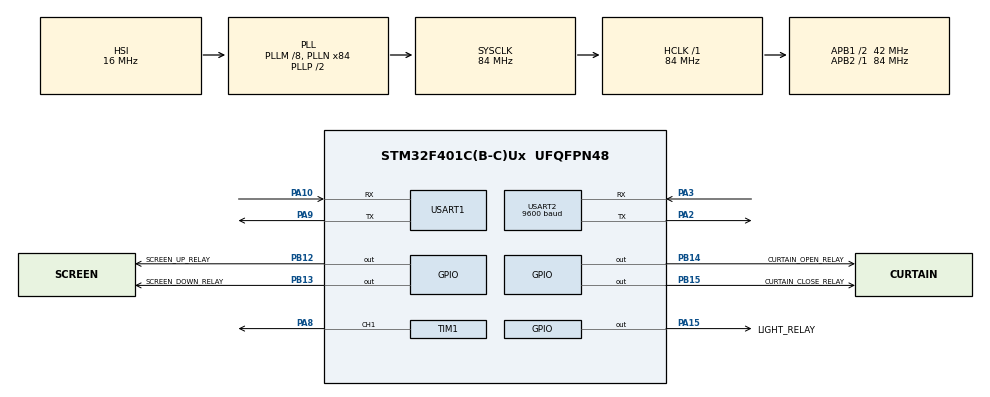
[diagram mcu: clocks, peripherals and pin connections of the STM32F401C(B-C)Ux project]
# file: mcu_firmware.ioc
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Dma.Request0=USART1_RX
Dma.USART1_RX.0.Direction=DMA_PERIPH_TO_MEMORY
Dma.USART1_RX.0.FIFOMode=DMA_FIFOMODE_DISABLE
Dma.USART1_RX.0.Instance=DMA2_Stream2
Dma.USART1_RX.0.MemDataAlignment=DMA_MDATAALIGN_BYTE
Dma.USART1_RX.0.MemInc=DMA_MINC_ENABLE
Dma.USART1_RX.0.Mode=DMA_CIRCULAR
Dma.USART1_RX.0.PeriphDataAlignment=DMA_PDATAALIGN_BYTE
Dma.USART1_RX.0.PeriphInc=DMA_PINC_DISABLE
Dma.USART1_RX.0.Priority=DMA_PRIORITY_HIGH
FREERTOS.Queues01=uartQueue,10,1,1,Dynamic,NULL,NULL;relayQueue,10,4,1,Dynamic,NULL,NULL
FREERTOS.Tasks01=uartRxTask,40,256,StartUartRxTask,Default,NULL,Dynamic,NULL,NULL;commandTask,16,256,StartCommandTask,Default,NULL,Dynamic,NULL,NULL
FREERTOS.configUSE_NEWLIB_REENTRANT=1
Mcu.Family=STM32F4
Mcu.Name=STM32F401C(B-C)Ux
Mcu.Package=UFQFPN48
NVIC.DMA2_Stream2_IRQn=true\:5\:0\:false\:false\:true\:true\:false\:true\:true
NVIC.PriorityGroup=NVIC_PRIORITYGROUP_4
NVIC.TIM5_IRQn=true\:15\:0\:false\:false\:true\:false\:false\:true\:true
NVIC.TimeBase=TIM5_IRQn
NVIC.TimeBaseIP=TIM5
NVIC.USART1_IRQn=true\:5\:0\:false\:false\:true\:true\:true\:true\:true
PA10.Mode=Asynchronous
PA10.Signal=USART1_RX
PA13.Mode=Serial_Wire
PA13.Signal=SYS_JTMS-SWDIO
PA14.Mode=Serial_Wire
PA14.Signal=SYS_JTCK-SWCLK
PA15.GPIO_Label=LIGHT_RELAY
PA15.Signal=GPIO_Output
PA2.Mode=Asynchronous
PA2.Signal=USART2_TX
PA3.Mode=Asynchronous
PA3.Signal=USART2_RX
PA8.Signal=S_TIM1_CH1
PA9.Mode=Asynchronous
PA9.Signal=USART1_TX
PB12.GPIO_Label=SCREEN_UP_RELAY
PB12.Signal=GPIO_Output
PB13.GPIO_Label=SCREEN_DOWN_RELAY
PB13.Signal=GPIO_Output
PB14.GPIO_Label=CURTAIN_OPEN_RELAY
PB14.Signal=GPIO_Output
PB15.GPIO_Label=CURTAIN_CLOSE_RELAY
PB15.Signal=GPIO_Output
ProjectManager.HeapSize=0x200
ProjectManager.StackSize=0x400
ProjectManager.TargetToolchain=STM32CubeIDE
RCC.48MHZClocksFreq_Value=42000000
RCC.AHBFreq_Value=84000000
RCC.APB1CLKDivider=RCC_HCLK_DIV2
RCC.APB1Freq_Value=42000000
RCC.APB1TimFreq_Value=84000000
RCC.APB2Freq_Value=84000000
RCC.APB2TimFreq_Value=84000000
RCC.CortexFreq_Value=84000000
RCC.HCLKFreq_Value=84000000
RCC.HSE_VALUE=25000000
RCC.HSI_VALUE=16000000
RCC.LSE_VALUE=32768
RCC.PLLM=8
RCC.PLLN=84
RCC.SYSCLKFreq_VALUE=84000000
RCC.SYSCLKSource=RCC_SYSCLKSOURCE_PLLCLK
RCC.VCOOutputFreq_Value=168000000
SH.S_TIM1_CH1.0=TIM1_CH1,PWM Generation1 CH1
TIM1.Channel-PWM\ Generation1\ CH1=TIM_CHANNEL_1
TIM1.Period=26
TIM1.Prescaler=83
TIM1.Pulse-PWM\ Generation1\ CH1=13
USART1.VirtualMode=VM_ASYNC
USART2.BaudRate=9600
USART2.VirtualMode=VM_ASYNC
VP_FREERTOS_VS_CMSIS_V2.Mode=CMSIS_V2
VP_SYS_VS_tim5.Mode=TIM5
VP_TIM1_VS_ClockSourceINT.Mode=Internal
board=custom

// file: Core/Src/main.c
/* USER CODE BEGIN Header */
/**
  ******************************************************************************
  * @file           : main.c
  * @brief          : Main program body
  ******************************************************************************
  * @attention
  *
  * Copyright (c) 2026 STMicroelectronics.
  * All rights reserved.
  *
  * This software is licensed under terms that can be found in the LICENSE file
  * in the root directory of this software component.
  * If no LICENSE file comes with this software, it is provided AS-IS.
  *
  ******************************************************************************
  */
/* USER CODE END Header */
#include "main.h"
#include "cmsis_os.h"
#include "dma.h"
#include "tim.h"
#include "usart.h"
#include "gpio.h"

void SystemClock_Config(void);
void MX_FREERTOS_Init(void);

int main(void)
{

  /* MCU Configuration--------------------------------------------------------*/

  /* Reset of all peripherals, Initializes the Flash interface and the Systick. */
  HAL_Init();

  /* Configure the system clock */
  SystemClock_Config();

  /* Initialize all configured peripherals */
  MX_GPIO_Init();
  MX_DMA_Init();
  MX_TIM1_Init();
  MX_USART1_UART_Init();
  MX_USART2_UART_Init();

  /* Init scheduler */
  osKernelInitialize();  /* Call init function for freertos objects (in cmsis_os2.c) */
  MX_FREERTOS_Init();

  /* Start scheduler */
  osKernelStart();

  /* We should never get here as control is now taken by the scheduler */

  /* Infinite loop */
  while (1)
  {

  }
}

void SystemClock_Config(void)
{
  RCC_OscInitTypeDef RCC_OscInitStruct = {0};
  RCC_ClkInitTypeDef RCC_ClkInitStruct = {0};

  /** Configure the main internal regulator output voltage
  */
  __HAL_RCC_PWR_CLK_ENABLE();
  __HAL_PWR_VOLTAGESCALING_CONFIG(PWR_REGULATOR_VOLTAGE_SCALE2);

  /** Initializes the RCC Oscillators according to the specified parameters
  * in the RCC_OscInitTypeDef structure.
  */
  RCC_OscInitStruct.OscillatorType = RCC_OSCILLATORTYPE_HSI;
  RCC_OscInitStruct.HSIState = RCC_HSI_ON;
  RCC_OscInitStruct.HSICalibrationValue = RCC_HSICALIBRATION_DEFAULT;
  RCC_OscInitStruct.PLL.PLLState = RCC_PLL_ON;
  RCC_OscInitStruct.PLL.PLLSource = RCC_PLLSOURCE_HSI;
  RCC_OscInitStruct.PLL.PLLM = 8;
  RCC_OscInitStruct.PLL.PLLN = 84;
  RCC_OscInitStruct.PLL.PLLP = RCC_PLLP_DIV2;
  RCC_OscInitStruct.PLL.PLLQ = 4;
  if (HAL_RCC_OscConfig(&RCC_OscInitStruct) != HAL_OK)
  {
    Error_Handler();
  }

  /** Initializes the CPU, AHB and APB buses clocks
  */
  RCC_ClkInitStruct.ClockType = RCC_CLOCKTYPE_HCLK|RCC_CLOCKTYPE_SYSCLK
                              |RCC_CLOCKTYPE_PCLK1|RCC_CLOCKTYPE_PCLK2;
  RCC_ClkInitStruct.SYSCLKSource = RCC_SYSCLKSOURCE_PLLCLK;
  RCC_ClkInitStruct.AHBCLKDivider = RCC_SYSCLK_DIV1;
  RCC_ClkInitStruct.APB1CLKDivider = RCC_HCLK_DIV2;
  RCC_ClkInitStruct.APB2CLKDivider = RCC_HCLK_DIV1;

  if (HAL_RCC_ClockConfig(&RCC_ClkInitStruct, FLASH_LATENCY_2) != HAL_OK)
  {
    Error_Handler();
  }
}

void HAL_TIM_PeriodElapsedCallback(TIM_HandleTypeDef *htim)
{
  if (htim->Instance == TIM5)
  {
    HAL_IncTick();
  }
}

void Error_Handler(void)
{
  __disable_irq();
  while (1)
  {
  }
}

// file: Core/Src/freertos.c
/* USER CODE BEGIN Header */
/**
  ******************************************************************************
  * File Name          : freertos.c
  * Description        : Code for freertos applications
  ******************************************************************************
  * @attention
  *
  * Copyright (c) 2026 STMicroelectronics.
  * All rights reserved.
  *
  * This software is licensed under terms that can be found in the LICENSE file
  * in the root directory of this software component.
  * If no LICENSE file comes with the software, it is provided AS-IS.
  *
  ******************************************************************************
  */
/* USER CODE END Header */

#include "FreeRTOS.h"
#include "task.h"
#include "main.h"
#include "cmsis_os.h"

/* USER CODE BEGIN Includes */
#include "usart.h"
#include "sps_protocol.h"
#include "command_dispatcher.h"
#include "relay_service.h"
#include "ir_service.h"
#include "projector_service.h"
#include "ota_service.h"
/* USER CODE END Includes */

/* USER CODE BEGIN PD */
#define UART_RX_DMA_BUFFER_SIZE 256U
#define UART_QUEUE_SIZE         256U
#define RELAY_QUEUE_SIZE        10U
#define PROJECTOR_QUEUE_SIZE    5U
#define IR_QUEUE_SIZE           5U
#define OTA_QUEUE_SIZE          5U
#define UART_TX_TIMEOUT_MS      100U
/* USER CODE END PD */

/* USER CODE BEGIN Variables */
static uint8_t uartRxDmaBuffer[UART_RX_DMA_BUFFER_SIZE];
/* USER CODE END Variables */

/* Definitions for uartRxTask */
osThreadId_t uartRxTaskHandle;
const osThreadAttr_t uartRxTask_attributes = {
  .name = "uartRxTask",
  .stack_size = 256 * 4,
  .priority = (osPriority_t) osPriorityHigh,
};

/* Definitions for commandTask */
osThreadId_t commandTaskHandle;
const osThreadAttr_t commandTask_attributes = {
  .name = "commandTask",
  .stack_size = 256 * 4,
  .priority = (osPriority_t) osPriorityAboveNormal,
};

/* Definitions for relayTask */
osThreadId_t relayTaskHandle;
const osThreadAttr_t relayTask_attributes = {
  .name = "relayTask",
  .stack_size = 256 * 4,
  .priority = (osPriority_t) osPriorityNormal,
};

/* Definitions for projectorTask */
osThreadId_t projectorTaskHandle;
const osThreadAttr_t projectorTask_attributes = {
  .name = "projectorTask",
  .stack_size = 256 * 4,
  .priority = (osPriority_t) osPriorityNormal,
};

/* Definitions for irTask */
osThreadId_t irTaskHandle;
const osThreadAttr_t irTask_attributes = {
  .name = "irTask",
  .stack_size = 256 * 4,
  .priority = (osPriority_t) osPriorityNormal,
};

/* Definitions for otaTask */
osThreadId_t otaTaskHandle;
const osThreadAttr_t otaTask_attributes = {
  .name = "otaTask",
  .stack_size = 512 * 4,
  .priority = (osPriority_t) osPriorityNormal,
};

/* Definitions for uartQueue */
osMessageQueueId_t uartQueueHandle;
const osMessageQueueAttr_t uartQueue_attributes = {
  .name = "uartQueue"
};

/* Definitions for relayQueue */
osMessageQueueId_t relayQueueHandle;
const osMessageQueueAttr_t relayQueue_attributes = {
  .name = "relayQueue"
};

/* Definitions for projectorQueue */
osMessageQueueId_t projectorQueueHandle;
const osMessageQueueAttr_t projectorQueue_attributes = {
  .name = "projectorQueue"
};

/* Definitions for irQueue */
osMessageQueueId_t irQueueHandle;
const osMessageQueueAttr_t irQueue_attributes = {
  .name = "irQueue"
};

/* Definitions for otaQueue */
osMessageQueueId_t otaQueueHandle;
const osMessageQueueAttr_t otaQueue_attributes = {
  .name = "otaQueue"
};

/* Definitions for uartTxMutex */
osMutexId_t uartTxMutexHandle;
const osMutexAttr_t uartTxMutex_attributes = {
  .name = "uartTxMutex"
};

/* USER CODE BEGIN FunctionPrototypes */
static void App_SendAck(uint8_t sourceCmd);
static void App_SendNack(uint8_t sourceCmd, uint8_t errorCode);
static void App_SendFrame(uint8_t cmdId, const uint8_t *payload, uint8_t length);
static void App_HandleRelayStatus(const SPS_Frame_t *frame);
/* USER CODE END FunctionPrototypes */

void StartUartRxTask(void *argument);
void StartCommandTask(void *argument);
void StartRelayTask(void *argument);
void StartProjectorTask(void *argument);
void StartIrTask(void *argument);
void StartOtaTask(void *argument);

void MX_FREERTOS_Init(void);

void MX_FREERTOS_Init(void)
{

  /* USER CODE BEGIN RTOS_MUTEX */
  uartTxMutexHandle = osMutexNew(&uartTxMutex_attributes);
  configASSERT(uartTxMutexHandle != NULL);
  /* USER CODE END RTOS_MUTEX */

  /* Create the queue(s) */
  uartQueueHandle = osMessageQueueNew(UART_QUEUE_SIZE, sizeof(uint8_t), &uartQueue_attributes);
  relayQueueHandle = osMessageQueueNew(RELAY_QUEUE_SIZE, sizeof(uint32_t), &relayQueue_attributes);
  projectorQueueHandle = osMessageQueueNew(PROJECTOR_QUEUE_SIZE, sizeof(ProjectorCommand_t), &projectorQueue_attributes);
  irQueueHandle = osMessageQueueNew(IR_QUEUE_SIZE, sizeof(IrCommand_t), &irQueue_attributes);
  otaQueueHandle = osMessageQueueNew(OTA_QUEUE_SIZE, sizeof(OtaCommand_t), &otaQueue_attributes);

  /* USER CODE BEGIN RTOS_QUEUES */
  configASSERT(uartQueueHandle != NULL);
  configASSERT(relayQueueHandle != NULL);
  configASSERT(projectorQueueHandle != NULL);
  configASSERT(irQueueHandle != NULL);
  configASSERT(otaQueueHandle != NULL);
  /* USER CODE END RTOS_QUEUES */

  /* Create the thread(s) */
  uartRxTaskHandle = osThreadNew(StartUartRxTask, NULL, &uartRxTask_attributes);
  commandTaskHandle = osThreadNew(StartCommandTask, NULL, &commandTask_attributes);
  relayTaskHandle = osThreadNew(StartRelayTask, NULL, &relayTask_attributes);
  projectorTaskHandle = osThreadNew(StartProjectorTask, NULL, &projectorTask_attributes);
  irTaskHandle = osThreadNew(StartIrTask, NULL, &irTask_attributes);
  otaTaskHandle = osThreadNew(StartOtaTask, NULL, &otaTask_attributes);

  /* USER CODE BEGIN RTOS_THREADS */
  configASSERT(uartRxTaskHandle != NULL);
  configASSERT(commandTaskHandle != NULL);
  configASSERT(relayTaskHandle != NULL);
  configASSERT(projectorTaskHandle != NULL);
  configASSERT(irTaskHandle != NULL);
  configASSERT(otaTaskHandle != NULL);
  /* USER CODE END RTOS_THREADS */

}

void StartUartRxTask(void *argument)
{
  /* USER CODE BEGIN StartUartRxTask */

  HAL_UARTEx_ReceiveToIdle_DMA(&huart1,
                               uartRxDmaBuffer,
                               UART_RX_DMA_BUFFER_SIZE);
  __HAL_DMA_DISABLE_IT(huart1.hdmarx, DMA_IT_HT);

  for (;;)
  {
    osDelay(1000U);
  }

  /* USER CODE END StartUartRxTask */
}

void StartCommandTask(void *argument)
{
  /* USER CODE BEGIN StartCommandTask */

  uint8_t rxByte;
  SPS_Frame_t frame;

  SPS_Protocol_Init();

  for (;;)
  {
    if (osMessageQueueGet(uartQueueHandle, &rxByte, NULL, osWaitForever) == osOK)
    {
      SPS_ParseResult_t parseResult;

      parseResult = SPS_Protocol_ParseByte(rxByte, &frame);

      if (parseResult == SPS_PARSE_FRAME_READY)
      {
        if (frame.cmd_id == SPS_CMD_PING)
        {
          App_SendAck(SPS_CMD_PING);
        }
        else if (frame.cmd_id == SPS_CMD_RELAY_STATUS)
        {
          App_HandleRelayStatus(&frame);
        }
        else
        {
          DispatchResult_t dispatchResult;

          dispatchResult = Command_DispatchFrame(&frame);

          if (dispatchResult == DISPATCH_RESULT_INVALID_PARAM)
          {
            App_SendNack(frame.cmd_id, SPS_ERR_INVALID_PARAM);
          }
          else if (dispatchResult == DISPATCH_RESULT_QUEUE_FULL)
          {
            App_SendNack(frame.cmd_id, SPS_ERR_QUEUE_FULL);
          }
          else if (dispatchResult == DISPATCH_RESULT_UNKNOWN_CMD)
          {
            App_SendNack(frame.cmd_id, SPS_ERR_UNKNOWN_CMD);
          }
          else if (dispatchResult == DISPATCH_RESULT_PROJECTOR_ERROR)
          {
            App_SendNack(frame.cmd_id, SPS_ERR_TIMEOUT);
          }
          else if (dispatchResult == DISPATCH_RESULT_IR_ERROR)
          {
            App_SendNack(frame.cmd_id, SPS_ERR_TIMEOUT);
          }
          else if (dispatchResult == DISPATCH_RESULT_OTA_ERROR)
          {
            App_SendNack(frame.cmd_id, SPS_ERR_OTA);
          }
          else
          {
        	  /*
        	   * Các command có task riêng sẽ không ACK ở commandTask:
        	   * - Relay: relayTask ACK sau khi GPIO thực thi xong.
        	   * - Projector: projectorTask ACK sau khi USART2 xử lý xong.
        	   * - IR: irTask ACK sau khi phát IR xong.
        	   * - OTA: otaTask ACK sau khi xử lý OTA xong.
        	   */
            /*
             * Relay command không ACK ở commandTask.
             * relayTask sẽ ACK sau khi GPIO thực thi xong.
             */
          }
        }
      }
      else if (parseResult == SPS_PARSE_ERROR)
      {
        App_SendNack(0x00U, SPS_ERR_CRC);
      }
      else
      {
        /* Frame chưa đủ byte. */
      }
    }
  }

  /* USER CODE END StartCommandTask */
}

void StartRelayTask(void *argument)
{
  /* USER CODE BEGIN StartRelayTask */

  uint32_t relayCmd;
  RelayResult_t result;
  uint8_t sourceCmd;

  Relay_Service_Init();

  for (;;)
  {
    if (osMessageQueueGet(relayQueueHandle, &relayCmd, NULL, 100U) == osOK)
    {
      sourceCmd = RELAY_CMD_GET_SOURCE(relayCmd);
      result = Relay_Service_ExecuteCommand(relayCmd);

      if (result == RELAY_RESULT_OK)
      {
        App_SendAck(sourceCmd);
      }
      else
      {
        App_SendNack(sourceCmd, SPS_ERR_INVALID_PARAM);
      }
    }

    Relay_Service_Periodic();
  }

  /* USER CODE END StartRelayTask */
}
void StartProjectorTask(void *argument)
{
  /* USER CODE BEGIN StartProjectorTask */

  ProjectorCommand_t projectorCmd;
  ProjectorResult_t result;

  (void)argument;

  Projector_Service_Init();

  for (;;)
  {
    if (osMessageQueueGet(projectorQueueHandle, &projectorCmd, NULL, osWaitForever) == osOK)
    {
      result = Projector_Service_ExecuteCommand(&projectorCmd);

      if (result == PROJECTOR_RESULT_OK)
      {
        App_SendAck(projectorCmd.sourceCmd);
      }
      else if (result == PROJECTOR_RESULT_INVALID_PARAM)
      {
        App_SendNack(projectorCmd.sourceCmd, SPS_ERR_INVALID_PARAM);
      }
      else
      {
        App_SendNack(projectorCmd.sourceCmd, SPS_ERR_TIMEOUT);
      }
    }
  }

  /* USER CODE END StartProjectorTask */
}

void StartIrTask(void *argument)
{
  /* USER CODE BEGIN StartIrTask */

  IrCommand_t irCmd;
  IrResult_t result;

  (void)argument;

  IR_Service_Init();

  for (;;)
  {
    if (osMessageQueueGet(irQueueHandle, &irCmd, NULL, osWaitForever) == osOK)
    {
      result = IR_Service_ExecuteCommand(&irCmd);

      if (result == IR_RESULT_OK)
      {
        App_SendAck(irCmd.sourceCmd);
      }
      else
      {
        App_SendNack(irCmd.sourceCmd, SPS_ERR_INVALID_PARAM);
      }
    }
  }

  /* USER CODE END StartIrTask */
}

void StartOtaTask(void *argument)
{
  /* USER CODE BEGIN StartOtaTask */

  OtaCommand_t otaCmd;
  OtaResult_t result;

  (void)argument;

  OTA_Service_Init();

  for (;;)
  {
    if (osMessageQueueGet(otaQueueHandle, &otaCmd, NULL, osWaitForever) == osOK)
    {
      result = OTA_Service_ExecuteCommand(&otaCmd);

      if (result == OTA_RESULT_OK)
      {
        App_SendAck(otaCmd.sourceCmd);
      }
      else if (result == OTA_RESULT_INVALID_PARAM)
      {
        App_SendNack(otaCmd.sourceCmd, SPS_ERR_INVALID_PARAM);
      }
      else
      {
        App_SendNack(otaCmd.sourceCmd, SPS_ERR_OTA);
      }
    }
  }

  /* USER CODE END StartOtaTask */
}

/* USER CODE BEGIN Application */

void HAL_UARTEx_RxEventCallback(UART_HandleTypeDef *huart, uint16_t Size)
{
  if (huart->Instance == USART1)
  {
    for (uint16_t i = 0U; i < Size; i++)
    {
      uint8_t byte = uartRxDmaBuffer[i];

      if (osMessageQueuePut(uartQueueHandle, &byte, 0U, 0U) != osOK)
      {
        /*
         * Queue đầy: bỏ phần còn lại của block hiện tại.
         * Nếu gặp thực tế, tăng UART_QUEUE_SIZE hoặc giảm tốc độ gửi từ SBC.
         */
        break;
      }
    }

    HAL_UARTEx_ReceiveToIdle_DMA(&huart1,
                                 uartRxDmaBuffer,
                                 UART_RX_DMA_BUFFER_SIZE);
    __HAL_DMA_DISABLE_IT(huart1.hdmarx, DMA_IT_HT);
  }
}

static void App_SendFrame(uint8_t cmdId, const uint8_t *payload, uint8_t length)
{
  uint8_t txBuffer[SPS_MAX_FRAME_SIZE];
  uint16_t frameSize;

  frameSize = SPS_Protocol_BuildFrame(cmdId,
                                      payload,
                                      length,
                                      txBuffer,
                                      sizeof(txBuffer));

  if (frameSize == 0U)
  {
    return;
  }

  if (osMutexAcquire(uartTxMutexHandle, UART_TX_TIMEOUT_MS) == osOK)
  {
    (void)HAL_UART_Transmit(&huart1,
                            txBuffer,
                            frameSize,
                            UART_TX_TIMEOUT_MS);

    (void)osMutexRelease(uartTxMutexHandle);
  }
}

static void App_SendAck(uint8_t sourceCmd)
{
  uint8_t payload[1];

  payload[0] = sourceCmd;

  App_SendFrame(SPS_CMD_ACK, payload, 1U);
}

static void App_SendNack(uint8_t sourceCmd, uint8_t errorCode)
{
  uint8_t payload[2];

  payload[0] = sourceCmd;
  payload[1] = errorCode;

  App_SendFrame(SPS_CMD_NACK, payload, 2U);
}

static void App_HandleRelayStatus(const SPS_Frame_t *frame)
{
  uint8_t payload[2];

  if (frame == NULL)
  {
    App_SendNack(0x00U, SPS_ERR_INVALID_PARAM);
    return;
  }

  if (frame->length != 1U)
  {
    App_SendNack(frame->cmd_id, SPS_ERR_INVALID_PARAM);
    return;
  }

  payload[0] = frame->payload[0];

  if (frame->payload[0] == RELAY_DEVICE_LIGHT_1 ||
      frame->payload[0] == RELAY_DEVICE_LIGHT_ALL)
  {
    payload[1] = Relay_Service_GetLightState();
  }
  else if (frame->payload[0] == RELAY_DEVICE_CURTAIN)
  {
    payload[1] = Relay_Service_GetCurtainState();
  }
  else if (frame->payload[0] == RELAY_DEVICE_SCREEN)
  {
    payload[1] = Relay_Service_GetScreenState();
  }
  else
  {
    App_SendNack(frame->cmd_id, SPS_ERR_INVALID_PARAM);
    return;
  }

  App_SendFrame(SPS_CMD_RELAY_STATUS, payload, 2U);
}

/* USER CODE END Application */
